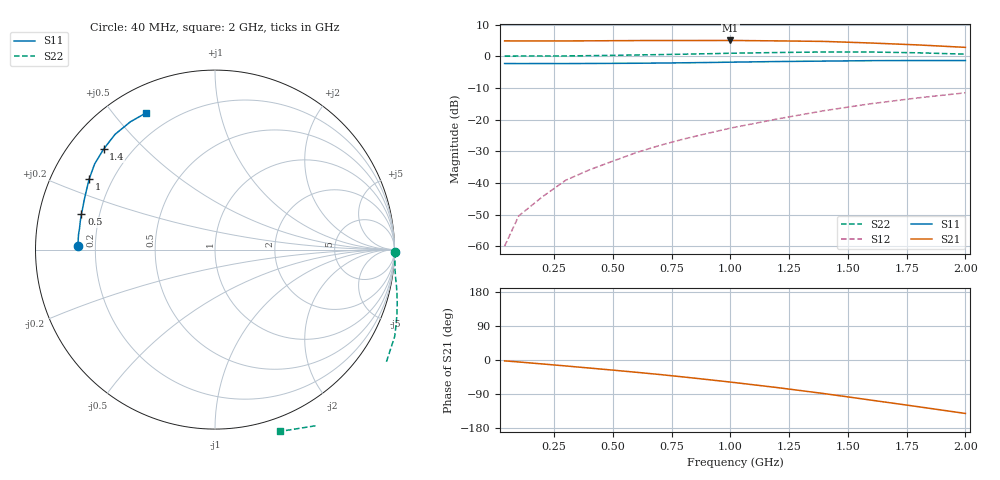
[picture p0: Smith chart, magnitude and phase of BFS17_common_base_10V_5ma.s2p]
! Filename:  BFS17CBG.S2P  Version:  2.0
! Philips part #: BFS17  Date: Jul 1990
! Bias condition: Vce=10V, Ic=5mA
! COMMON BASE
#  MHz  S  MA  R  50
! Freq  S11  S21  S12  S22
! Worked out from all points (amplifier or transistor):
!   16 points, 40 MHz to 2 GHz, reference 50 ohm
!   highest |S21| = 5.0 dB at 1 GHz (marker M1)
!   |S21| within 3 dB of that: start of sweep to end of sweep
!   unconditionally stable (mu >= 1): nowhere
!   at 200 MHz: K = -0.37, MSG = 24.6 dB, |S12| = -44.4 dB
!   at 800 MHz: K = -0.82, MSG = 15.6 dB, |S12| = -26.2 dB
!   at 2 GHz: K = -0.09, MSG = 7.2 dB, |S12| = -11.6 dB
!   S11 on the Smith chart (normalised r, x): 40 MHz: 0.13, +0.01; 500 MHz: 0.13, +0.13; 1 GHz: 0.12, +0.26; 1.4 GHz: 0.10, +0.38; 2 GHz: 0.11, +0.61
40  0.766 178.5  1.744 -2.3  0.001 83.7  1.002 -0.9
100  0.764 176.9  1.743 -5.2  0.003 91.1  1.005 -2.1
200  0.765 173.9  1.741 -10.4  0.006 103.3  1.005 -4.3
300  0.764 171.0  1.742 -15.7  0.011 114.2  1.01 -6.6
400  0.767 168.2  1.747 -21.2  0.016 119.3  1.019 -9.0
500  0.77 165.1  1.755 -26.7  0.022 123.6  1.031 -11.3
600  0.773 162.3  1.763 -32.4  0.03 127.2  1.044 -13.8
700  0.779 159.4  1.767 -38.3  0.039 128.5  1.059 -16.5
800  0.786 156.3  1.765 -44.7  0.049 129.6  1.075 -19.4
900  0.794 153.5  1.768 -51.4  0.06 130.0  1.092 -22.5
1000  0.804 150.6  1.771 -58.2  0.073 129.8  1.112 -25.8
1200  0.823 144.6  1.744 -72.8  0.102 128.4  1.142 -33.3
1400  0.836 137.9  1.71 -88.7  0.138 125.1  1.164 -41.6
1600  0.85 130.9  1.613 -106.0  0.178 121.6  1.162 -50.6
1800  0.854 123.5  1.504 -123.3  0.22 116.2  1.13 -60.3
2000  0.853 116.6  1.378 -141.0  0.264 110.5  1.076 -70.3
